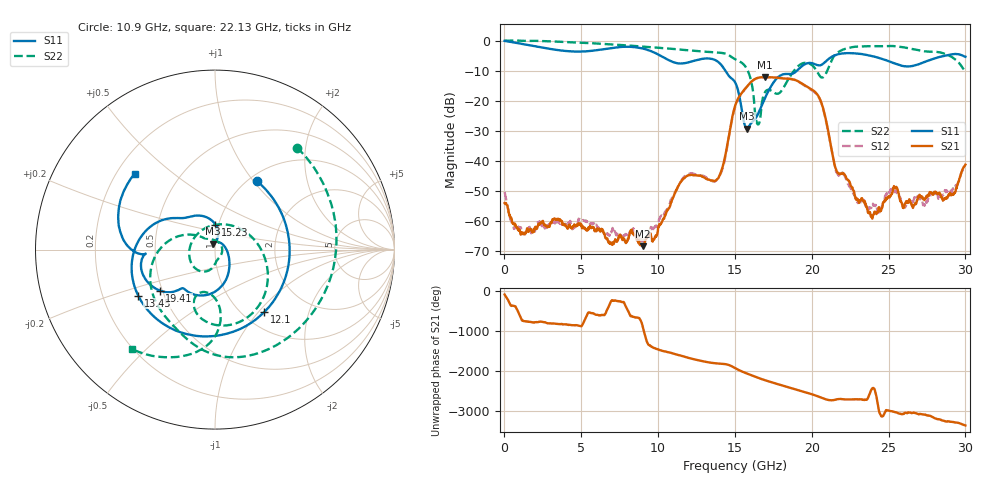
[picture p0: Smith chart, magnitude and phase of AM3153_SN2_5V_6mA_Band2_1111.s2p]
!Agilent Technologies,E8364B,MY43040894,A.07.50.67
!Agilent E8364B: A.07.50.67
!Date: Tuesday, May 12, 2020 09:53:32
!Correction: S11(Full 2 Port(1,2))
!S21(Full 2 Port(1,2))
!S12(Full 2 Port(1,2))
!S22(Full 2 Port(1,2))
!S2P File: Measurements: S11, S21, S12, S22:
# Hz S  dB  R 50
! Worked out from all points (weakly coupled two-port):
!   1601 points, 10 MHz to 30 GHz, reference 50 ohm
!   highest |S21| = -12.18 dB at 16.95 GHz (marker M1); lowest = -68.4 dB at 9.007 GHz (marker M2)
!   lowest |S11| = -29.3 dB at 15.79 GHz (marker M3), VSWR 1.07, Z = 48.9 + j3.21 ohm
!   |S11| at or under -10 dB: 14.37 GHz to 19.04 GHz (4.668 GHz wide, 27.9 % of centre)
!   |S22| runs from -27.9 to 0.0 dB; largest |S21 - S12| = 0.0067
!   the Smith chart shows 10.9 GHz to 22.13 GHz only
!   S11 on the Smith chart (normalised r, x): 10.9 GHz: 1.10, +1.04; 12.1 GHz: 1.25, -1.08; 13.45 GHz: 0.36, -0.24; 15.23 GHz: 0.97, +0.27; 19.41 GHz: 0.48, -0.26; 22.13 GHz: 0.27, +0.37
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1e7  -0.12 -4.9  -54.04 -79.1  -50.32 73.4  -0.01 -1.7
1.2096e9  -1.19 -82.4  -64.27 -15.6  -64.27 -24.7  -0.10 -34.8
2.596638e9  -2.45 -162.6  -61.23 -56.4  -62.10 -58.6  -0.18 -74.0
5.014581e9  -3.65 66.1  -61.15 -157.2  -60.08 -156.7  -0.68 -139.8
6.3079e9  -2.96 -7.8  -62.59 126.9  -62.85 146.5  -1.06 -174.0
7.526244e9  -2.14 -77.0  -64.49 106.8  -64.80 109.6  -1.46 152.9
9.007e9  -2.64 -162.6  -68.35 177.8  -66.36 -129.3  -2.01 111.0
1.001916e10  -4.64 130.7  -62.03 -25.8  -61.03 3.6  -2.39 79.8
1.090012e10  -6.99 58.1  -53.07 -113.9  -52.35 -115.9  -2.74 51.2
1.209972e10  -7.07 -51.6  -44.76 114.5  -44.16 111.8  -3.28 11.1
1.344927e10  -6.04 -149.1  -46.51 3.9  -46.48 0.6  -3.83 -39.7
1.5005e10  -13.82 112.1  -21.83 -128.0  -22.24 -127.4  -6.19 -116.1
1.522992e10  -17.13 88.9  -19.05 -174.6  -19.37 -173.4  -6.75 -128.9
1.579224e10  -29.30 106.7  -15.17 91.9  -15.25 93.2  -9.53 -174.0
1.646701e10  -24.80 14.6  -12.42 -9.1  -12.47 -8.8  -27.76 31.0
1.695435e10  -19.14 -43.1  -12.18 -74.4  -12.27 -73.9  -17.17 -117.5
1.940978e10  -8.33 -143.5  -14.44 0.2  -14.61 -1.4  -7.55 -65.2
2.000958e10  -7.51 -168.2  -16.26 -68.0  -16.56 -68.6  -8.15 -101.2
2.212762e10  -4.21 136.5  -44.50 162.1  -44.81 163.4  -2.84 -129.8
2.501416e10  -6.86 7.9  -51.81 -119.0  -50.80 -123.8  -1.82 137.6
2.767578e10  -6.49 180.0  -50.35 110.6  -51.85 108.3  -3.69 68.4
3e10  -5.37 92.0  -41.25 -133.5  -42.02 -140.4  -10.14 -7.9
